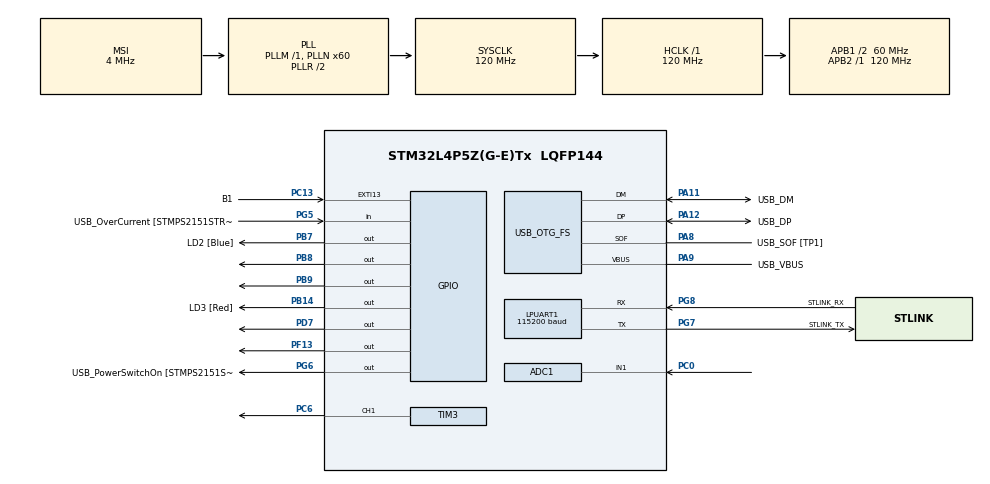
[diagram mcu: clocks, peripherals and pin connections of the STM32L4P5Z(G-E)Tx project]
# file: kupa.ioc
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ADC1.Channel-0\#ChannelRegularConversion=ADC_CHANNEL_1
ADC1.ContinuousConvMode=DISABLE
ADC1.DMAContinuousRequests=DISABLE
ADC1.NbrOfConversionFlag=1
ADC1.OffsetNumber-0\#ChannelRegularConversion=ADC_OFFSET_NONE
ADC1.OversamplingMode=ENABLE
ADC1.Rank-0\#ChannelRegularConversion=1
ADC1.Ratio=ADC_OVERSAMPLING_RATIO_16
ADC1.Resolution=ADC_RESOLUTION_12B
ADC1.SamplingTime-0\#ChannelRegularConversion=ADC_SAMPLETIME_2CYCLES_5
ADC1.master=1
FREERTOS.Tasks01=defaultTask,31,256,StartDefaultTask,Default,NULL,Dynamic,NULL,NULL;Run_Motor,34,128,RunMotor,Default,NULL,Dynamic,NULL,NULL
FREERTOS.configTICK_RATE_HZ=1000
FREERTOS.configUSE_NEWLIB_REENTRANT=1
LPUART1.BaudRate=115200
LPUART1.WordLength=UART_WORDLENGTH_8B
Mcu.Family=STM32L4
Mcu.Name=STM32L4P5Z(G-E)Tx
Mcu.Package=LQFP144
NVIC.PriorityGroup=NVIC_PRIORITYGROUP_4
NVIC.TIM6_DAC_IRQn=true\:15\:0\:false\:false\:true\:false\:false\:true\:true
NVIC.TimeBase=TIM6_DAC_IRQn
NVIC.TimeBaseIP=TIM6
PA10.GPIO_Label=USB_ID
PA10.Signal=USB_OTG_FS_ID
PA11.GPIO_Label=USB_DM
PA11.Mode=Device_Only
PA11.Signal=USB_OTG_FS_DM
PA12.GPIO_Label=USB_DP
PA12.Mode=Device_Only
PA12.Signal=USB_OTG_FS_DP
PA13\ (JTMS/SWDIO).GPIO_Label=TMS
PA13\ (JTMS/SWDIO).Mode=Trace_Asynchronous_SW
PA13\ (JTMS/SWDIO).Signal=SYS_JTMS-SWDIO
PA14\ (JTCK/SWCLK).GPIO_Label=TCK
PA14\ (JTCK/SWCLK).Mode=Trace_Asynchronous_SW
PA14\ (JTCK/SWCLK).Signal=SYS_JTCK-SWCLK
PA8.GPIO_Label=USB_SOF [TP1]
PA8.Mode=Activate_SOF_FS
PA8.Signal=USB_OTG_FS_SOF
PA9.GPIO_Label=USB_VBUS
PA9.Mode=Activate_VBUS
PA9.Signal=USB_OTG_FS_VBUS
PB14.GPIO_Label=LD3 [Red]
PB14.Signal=GPIO_Output
PB3\ (JTDO/TRACESWO).GPIO_Label=SWO
PB3\ (JTDO/TRACESWO).Mode=Trace_Asynchronous_SW
PB3\ (JTDO/TRACESWO).Signal=SYS_JTDO-SWO
PB7.GPIO_Label=LD2 [Blue]
PB7.Signal=GPIO_Output
PB8.Signal=GPIO_Output
PB9.Signal=GPIO_Output
PC0.Signal=ADCx_IN1
PC13.GPIO_Label=B1
PC13.Signal=GPXTI13
PC14-OSC32_IN\ (PC14).Mode=LSE-External-Oscillator
PC14-OSC32_IN\ (PC14).Signal=RCC_OSC32_IN
PC15-OSC32_OUT\ (PC15).Mode=LSE-External-Oscillator
PC15-OSC32_OUT\ (PC15).Signal=RCC_OSC32_OUT
PC6.Signal=S_TIM3_CH1
PD7.Signal=GPIO_Output
PF13.Signal=GPIO_Output
PG5.GPIO_Label=USB_OverCurrent [STMPS2151STR_FAULT]
PG5.Signal=GPIO_Input
PG6.GPIO_Label=USB_PowerSwitchOn [STMPS2151STR_En]
PG6.Signal=GPIO_Output
PG7.GPIO_Label=STLINK_TX
PG7.Mode=Asynchronous
PG7.Signal=LPUART1_TX
PG8.GPIO_Label=STLINK_RX
PG8.Mode=Asynchronous
PG8.Signal=LPUART1_RX
PH0-OSC_IN\ (PH0).Mode=HSE-External-Clock-Source
PH0-OSC_IN\ (PH0).Signal=RCC_OSC_IN
PH1-OSC_OUT\ (PH1).Signal=RCC_OSC_OUT
ProjectManager.HeapSize=0x200
ProjectManager.StackSize=0x400
ProjectManager.TargetToolchain=STM32CubeIDE
RCC.48MHZClocksFreq_Value=24000000
RCC.ADCFreq_Value=48000000
RCC.AHBFreq_Value=120000000
RCC.APB1CLKDivider=RCC_HCLK_DIV2
RCC.APB1Freq_Value=60000000
RCC.APB1TimFreq_Value=120000000
RCC.APB2Freq_Value=120000000
RCC.APB2TimFreq_Value=120000000
RCC.CortexFreq_Value=120000000
RCC.HCLKFreq_Value=120000000
RCC.HSE_VALUE=8000000
RCC.HSI48_VALUE=48000000
RCC.HSI_VALUE=16000000
RCC.MSI_VALUE=4000000
RCC.PLLMUL=RCC_PLL_MUL9
RCC.PLLN=60
RCC.PLLSAI1N=24
RCC.PRESCALERUSB=RCC_USBCLKSOURCE_PLL_DIV1_5
RCC.SYSCLKFreq_VALUE=120000000
RCC.SYSCLKSource=RCC_SYSCLKSOURCE_PLLCLK
RCC.SYSCLKSourceVirtual=RCC_SYSCLKSOURCE_PLLCLK
RCC.USBFreq_Value=48000000
RCC.VCOOutputFreq_Value=240000000
SH.ADCx_IN1.0=ADC1_IN1,IN1-Single-Ended
SH.S_TIM3_CH1.0=TIM3_CH1,PWM Generation1 CH1
TIM3.Channel-PWM\ Generation1\ CH1=TIM_CHANNEL_1
TIM3.Period=99
TIM3.Prescaler=119
TIM4.Period=0xffff-1
TIM4.Prescaler=119
USB_OTG_FS.VirtualMode=Device_Only
VP_FREERTOS_VS_CMSIS_V2.Mode=CMSIS_V2
VP_SYS_VS_tim6.Mode=TIM6
VP_TIM3_VS_ClockSourceINT.Mode=Internal
VP_TIM4_VS_ClockSourceINT.Mode=Internal
board=NUCLEO-L4P5ZG

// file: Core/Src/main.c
/* USER CODE BEGIN Header */
/**
  ******************************************************************************
  * @file           : main.c
  * @brief          : Main program body
  ******************************************************************************
  * @attention
  *
  * Copyright (c) 2022 STMicroelectronics.
  * All rights reserved.
  *
  * This software is licensed under terms that can be found in the LICENSE file
  * in the root directory of this software component.
  * If no LICENSE file comes with this software, it is provided AS-IS.
  *
  ******************************************************************************
  */
/* USER CODE END Header */
#include "main.h"
#include "cmsis_os.h"

/* USER CODE BEGIN Includes */
#include <stdio.h>
#include <math.h>
#include <string.h>
/* USER CODE END Includes */

ADC_HandleTypeDef hadc1;

UART_HandleTypeDef hlpuart1;

TIM_HandleTypeDef htim3;
TIM_HandleTypeDef htim4;

PCD_HandleTypeDef hpcd_USB_OTG_FS;

/* Definitions for defaultTask */
osThreadId_t defaultTaskHandle;
const osThreadAttr_t defaultTask_attributes = {
  .name = "defaultTask",
  .stack_size = 256 * 4,
  .priority = (osPriority_t) osPriorityNormal7,
};
/* Definitions for Run_Motor */
osThreadId_t Run_MotorHandle;
const osThreadAttr_t Run_Motor_attributes = {
  .name = "Run_Motor",
  .stack_size = 128 * 4,
  .priority = (osPriority_t) osPriorityAboveNormal2,
};
/* USER CODE BEGIN PV */
double temp;
uint8_t msg[100];
/* USER CODE END PV */

void SystemClock_Config(void);
void PeriphCommonClock_Config(void);
static void MX_GPIO_Init(void);
static void MX_LPUART1_UART_Init(void);
static void MX_USB_OTG_FS_PCD_Init(void);
static void MX_ADC1_Init(void);
static void MX_TIM3_Init(void);
static void MX_TIM4_Init(void);
void StartDefaultTask(void *argument);
void RunMotor(void *argument);

int main(void)
{

  /* MCU Configuration--------------------------------------------------------*/

  /* Reset of all peripherals, Initializes the Flash interface and the Systick. */
  HAL_Init();

  /* Configure the system clock */
  SystemClock_Config();

/* Configure the peripherals common clocks */
  PeriphCommonClock_Config();

  /* Initialize all configured peripherals */
  MX_GPIO_Init();
  MX_LPUART1_UART_Init();
  MX_USB_OTG_FS_PCD_Init();
  MX_ADC1_Init();
  MX_TIM3_Init();
  MX_TIM4_Init();
  /* USER CODE BEGIN 2 */
  HAL_TIM_PWM_Start(&htim3, TIM_CHANNEL_1);
  //HAL_TIM_PWM_Start(&htim4, TIM_CHANNEL_1);

 // HAL_DMA_RegisterCallback(&hdma_lpuart1_tx, HAL_DMA_XFER_CPLT_CB_ID,
                          //    &DMATransferComplete);
  /* USER CODE END 2 */

  /* Init scheduler */
  osKernelInitialize();

  /* Create the thread(s) */
  /* creation of defaultTask */
  defaultTaskHandle = osThreadNew(StartDefaultTask, NULL, &defaultTask_attributes);

  /* creation of Run_Motor */
  Run_MotorHandle = osThreadNew(RunMotor, NULL, &Run_Motor_attributes);

  /* Start scheduler */
  osKernelStart();

  /* We should never get here as control is now taken by the scheduler */
  /* Infinite loop */
  while (1)
  {

  }
}

void SystemClock_Config(void)
{
  RCC_OscInitTypeDef RCC_OscInitStruct = {0};
  RCC_ClkInitTypeDef RCC_ClkInitStruct = {0};

  /** Configure the main internal regulator output voltage
  */
  if (HAL_PWREx_ControlVoltageScaling(PWR_REGULATOR_VOLTAGE_SCALE1_BOOST) != HAL_OK)
  {
    Error_Handler();
  }

  /** Configure LSE Drive Capability
  */
  HAL_PWR_EnableBkUpAccess();
  __HAL_RCC_LSEDRIVE_CONFIG(RCC_LSEDRIVE_LOW);

  /** Initializes the RCC Oscillators according to the specified parameters
  * in the RCC_OscInitTypeDef structure.
  */
  RCC_OscInitStruct.OscillatorType = RCC_OSCILLATORTYPE_LSE|RCC_OSCILLATORTYPE_MSI;
  RCC_OscInitStruct.LSEState = RCC_LSE_ON;
  RCC_OscInitStruct.MSIState = RCC_MSI_ON;
  RCC_OscInitStruct.MSICalibrationValue = 0;
  RCC_OscInitStruct.MSIClockRange = RCC_MSIRANGE_6;
  RCC_OscInitStruct.PLL.PLLState = RCC_PLL_ON;
  RCC_OscInitStruct.PLL.PLLSource = RCC_PLLSOURCE_MSI;
  RCC_OscInitStruct.PLL.PLLM = 1;
  RCC_OscInitStruct.PLL.PLLN = 60;
  RCC_OscInitStruct.PLL.PLLP = RCC_PLLP_DIV2;
  RCC_OscInitStruct.PLL.PLLQ = RCC_PLLQ_DIV2;
  RCC_OscInitStruct.PLL.PLLR = RCC_PLLR_DIV2;
  if (HAL_RCC_OscConfig(&RCC_OscInitStruct) != HAL_OK)
  {
    Error_Handler();
  }

  /** Initializes the CPU, AHB and APB buses clocks
  */
  RCC_ClkInitStruct.ClockType = RCC_CLOCKTYPE_HCLK|RCC_CLOCKTYPE_SYSCLK
                              |RCC_CLOCKTYPE_PCLK1|RCC_CLOCKTYPE_PCLK2;
  RCC_ClkInitStruct.SYSCLKSource = RCC_SYSCLKSOURCE_PLLCLK;
  RCC_ClkInitStruct.AHBCLKDivider = RCC_SYSCLK_DIV1;
  RCC_ClkInitStruct.APB1CLKDivider = RCC_HCLK_DIV2;
  RCC_ClkInitStruct.APB2CLKDivider = RCC_HCLK_DIV1;

  if (HAL_RCC_ClockConfig(&RCC_ClkInitStruct, FLASH_LATENCY_5) != HAL_OK)
  {
    Error_Handler();
  }

  /** Enable MSI Auto calibration
  */
  HAL_RCCEx_EnableMSIPLLMode();
}

void PeriphCommonClock_Config(void)
{
  RCC_PeriphCLKInitTypeDef PeriphClkInit = {0};

  /** Initializes the peripherals clock
  */
  PeriphClkInit.PeriphClockSelection = RCC_PERIPHCLK_USB|RCC_PERIPHCLK_ADC;
  PeriphClkInit.AdcClockSelection = RCC_ADCCLKSOURCE_PLLSAI1;
  PeriphClkInit.UsbClockSelection = RCC_USBCLKSOURCE_PLLSAI1;
  PeriphClkInit.PLLSAI1.PLLSAI1Source = RCC_PLLSOURCE_MSI;
  PeriphClkInit.PLLSAI1.PLLSAI1M = 1;
  PeriphClkInit.PLLSAI1.PLLSAI1N = 24;
  PeriphClkInit.PLLSAI1.PLLSAI1P = RCC_PLLP_DIV2;
  PeriphClkInit.PLLSAI1.PLLSAI1Q = RCC_PLLQ_DIV2;
  PeriphClkInit.PLLSAI1.PLLSAI1R = RCC_PLLR_DIV2;
  PeriphClkInit.PLLSAI1.PLLSAI1ClockOut = RCC_PLLSAI1_48M2CLK|RCC_PLLSAI1_ADC1CLK;
  if (HAL_RCCEx_PeriphCLKConfig(&PeriphClkInit) != HAL_OK)
  {
    Error_Handler();
  }
}

static void MX_ADC1_Init(void)
{

  ADC_MultiModeTypeDef multimode = {0};
  ADC_ChannelConfTypeDef sConfig = {0};

  /** Common config
  */
  hadc1.Instance = ADC1;
  hadc1.Init.ClockPrescaler = ADC_CLOCK_ASYNC_DIV1;
  hadc1.Init.Resolution = ADC_RESOLUTION_12B;
  hadc1.Init.DataAlign = ADC_DATAALIGN_RIGHT;
  hadc1.Init.ScanConvMode = ADC_SCAN_DISABLE;
  hadc1.Init.EOCSelection = ADC_EOC_SINGLE_CONV;
  hadc1.Init.LowPowerAutoWait = DISABLE;
  hadc1.Init.ContinuousConvMode = DISABLE;
  hadc1.Init.NbrOfConversion = 1;
  hadc1.Init.DiscontinuousConvMode = DISABLE;
  hadc1.Init.ExternalTrigConv = ADC_SOFTWARE_START;
  hadc1.Init.ExternalTrigConvEdge = ADC_EXTERNALTRIGCONVEDGE_NONE;
  hadc1.Init.DMAContinuousRequests = DISABLE;
  hadc1.Init.Overrun = ADC_OVR_DATA_PRESERVED;
  hadc1.Init.OversamplingMode = ENABLE;
  hadc1.Init.Oversampling.Ratio = ADC_OVERSAMPLING_RATIO_16;
  hadc1.Init.Oversampling.RightBitShift = ADC_RIGHTBITSHIFT_NONE;
  hadc1.Init.Oversampling.TriggeredMode = ADC_TRIGGEREDMODE_SINGLE_TRIGGER;
  hadc1.Init.Oversampling.OversamplingStopReset = ADC_REGOVERSAMPLING_CONTINUED_MODE;
  if (HAL_ADC_Init(&hadc1) != HAL_OK)
  {
    Error_Handler();
  }

  /** Configure the ADC multi-mode
  */
  multimode.Mode = ADC_MODE_INDEPENDENT;
  if (HAL_ADCEx_MultiModeConfigChannel(&hadc1, &multimode) != HAL_OK)
  {
    Error_Handler();
  }

  /** Configure Regular Channel
  */
  sConfig.Channel = ADC_CHANNEL_1;
  sConfig.Rank = ADC_REGULAR_RANK_1;
  sConfig.SamplingTime = ADC_SAMPLETIME_2CYCLES_5;
  sConfig.SingleDiff = ADC_SINGLE_ENDED;
  sConfig.OffsetNumber = ADC_OFFSET_NONE;
  sConfig.Offset = 0;
  if (HAL_ADC_ConfigChannel(&hadc1, &sConfig) != HAL_OK)
  {
    Error_Handler();
  }

}

static void MX_LPUART1_UART_Init(void)
{

  hlpuart1.Instance = LPUART1;
  hlpuart1.Init.BaudRate = 115200;
  hlpuart1.Init.WordLength = UART_WORDLENGTH_8B;
  hlpuart1.Init.StopBits = UART_STOPBITS_1;
  hlpuart1.Init.Parity = UART_PARITY_NONE;
  hlpuart1.Init.Mode = UART_MODE_TX_RX;
  hlpuart1.Init.HwFlowCtl = UART_HWCONTROL_NONE;
  hlpuart1.Init.OneBitSampling = UART_ONE_BIT_SAMPLE_DISABLE;
  hlpuart1.Init.ClockPrescaler = UART_PRESCALER_DIV1;
  hlpuart1.AdvancedInit.AdvFeatureInit = UART_ADVFEATURE_NO_INIT;
  hlpuart1.FifoMode = UART_FIFOMODE_DISABLE;
  if (HAL_UART_Init(&hlpuart1) != HAL_OK)
  {
    Error_Handler();
  }
  if (HAL_UARTEx_SetTxFifoThreshold(&hlpuart1, UART_TXFIFO_THRESHOLD_1_8) != HAL_OK)
  {
    Error_Handler();
  }
  if (HAL_UARTEx_SetRxFifoThreshold(&hlpuart1, UART_RXFIFO_THRESHOLD_1_8) != HAL_OK)
  {
    Error_Handler();
  }
  if (HAL_UARTEx_DisableFifoMode(&hlpuart1) != HAL_OK)
  {
    Error_Handler();
  }

}

static void MX_TIM3_Init(void)
{

  TIM_ClockConfigTypeDef sClockSourceConfig = {0};
  TIM_MasterConfigTypeDef sMasterConfig = {0};
  TIM_OC_InitTypeDef sConfigOC = {0};

  htim3.Instance = TIM3;
  htim3.Init.Prescaler = 119;
  htim3.Init.CounterMode = TIM_COUNTERMODE_UP;
  htim3.Init.Period = 99;
  htim3.Init.ClockDivision = TIM_CLOCKDIVISION_DIV1;
  htim3.Init.AutoReloadPreload = TIM_AUTORELOAD_PRELOAD_DISABLE;
  if (HAL_TIM_Base_Init(&htim3) != HAL_OK)
  {
    Error_Handler();
  }
  sClockSourceConfig.ClockSource = TIM_CLOCKSOURCE_INTERNAL;
  if (HAL_TIM_ConfigClockSource(&htim3, &sClockSourceConfig) != HAL_OK)
  {
    Error_Handler();
  }
  if (HAL_TIM_PWM_Init(&htim3) != HAL_OK)
  {
    Error_Handler();
  }
  sMasterConfig.MasterOutputTrigger = TIM_TRGO_RESET;
  sMasterConfig.MasterSlaveMode = TIM_MASTERSLAVEMODE_DISABLE;
  if (HAL_TIMEx_MasterConfigSynchronization(&htim3, &sMasterConfig) != HAL_OK)
  {
    Error_Handler();
  }
  sConfigOC.OCMode = TIM_OCMODE_PWM1;
  sConfigOC.Pulse = 0;
  sConfigOC.OCPolarity = TIM_OCPOLARITY_HIGH;
  sConfigOC.OCFastMode = TIM_OCFAST_DISABLE;
  if (HAL_TIM_PWM_ConfigChannel(&htim3, &sConfigOC, TIM_CHANNEL_1) != HAL_OK)
  {
    Error_Handler();
  }
  HAL_TIM_MspPostInit(&htim3);

}

static void MX_TIM4_Init(void)
{

  TIM_ClockConfigTypeDef sClockSourceConfig = {0};
  TIM_MasterConfigTypeDef sMasterConfig = {0};

  htim4.Instance = TIM4;
  htim4.Init.Prescaler = 119;
  htim4.Init.CounterMode = TIM_COUNTERMODE_UP;
  htim4.Init.Period = 0xffff-1;
  htim4.Init.ClockDivision = TIM_CLOCKDIVISION_DIV1;
  htim4.Init.AutoReloadPreload = TIM_AUTORELOAD_PRELOAD_DISABLE;
  if (HAL_TIM_Base_Init(&htim4) != HAL_OK)
  {
    Error_Handler();
  }
  sClockSourceConfig.ClockSource = TIM_CLOCKSOURCE_INTERNAL;
  if (HAL_TIM_ConfigClockSource(&htim4, &sClockSourceConfig) != HAL_OK)
  {
    Error_Handler();
  }
  sMasterConfig.MasterOutputTrigger = TIM_TRGO_RESET;
  sMasterConfig.MasterSlaveMode = TIM_MASTERSLAVEMODE_DISABLE;
  if (HAL_TIMEx_MasterConfigSynchronization(&htim4, &sMasterConfig) != HAL_OK)
  {
    Error_Handler();
  }

}

static void MX_USB_OTG_FS_PCD_Init(void)
{

  hpcd_USB_OTG_FS.Instance = USB_OTG_FS;
  hpcd_USB_OTG_FS.Init.dev_endpoints = 6;
  hpcd_USB_OTG_FS.Init.phy_itface = PCD_PHY_EMBEDDED;
  hpcd_USB_OTG_FS.Init.Sof_enable = ENABLE;
  hpcd_USB_OTG_FS.Init.low_power_enable = DISABLE;
  hpcd_USB_OTG_FS.Init.lpm_enable = DISABLE;
  hpcd_USB_OTG_FS.Init.battery_charging_enable = ENABLE;
  hpcd_USB_OTG_FS.Init.use_dedicated_ep1 = DISABLE;
  hpcd_USB_OTG_FS.Init.vbus_sensing_enable = ENABLE;
  if (HAL_PCD_Init(&hpcd_USB_OTG_FS) != HAL_OK)
  {
    Error_Handler();
  }

}

static void MX_GPIO_Init(void)
{
  GPIO_InitTypeDef GPIO_InitStruct = {0};

  /* GPIO Ports Clock Enable */
  __HAL_RCC_GPIOC_CLK_ENABLE();
  __HAL_RCC_GPIOH_CLK_ENABLE();
  __HAL_RCC_GPIOF_CLK_ENABLE();
  __HAL_RCC_GPIOB_CLK_ENABLE();
  __HAL_RCC_GPIOG_CLK_ENABLE();
  HAL_PWREx_EnableVddIO2();
  __HAL_RCC_GPIOA_CLK_ENABLE();
  __HAL_RCC_GPIOD_CLK_ENABLE();

  /*Configure GPIO pin Output Level */
  HAL_GPIO_WritePin(GPIOF, GPIO_PIN_13, GPIO_PIN_RESET);

  /*Configure GPIO pin Output Level */
  HAL_GPIO_WritePin(GPIOB, LD3_Pin|LD2_Pin|GPIO_PIN_8|GPIO_PIN_9, GPIO_PIN_RESET);

  /*Configure GPIO pin Output Level */
  HAL_GPIO_WritePin(USB_PowerSwitchOn_GPIO_Port, USB_PowerSwitchOn_Pin, GPIO_PIN_RESET);

  /*Configure GPIO pin Output Level */
  HAL_GPIO_WritePin(GPIOD, GPIO_PIN_7, GPIO_PIN_RESET);

  /*Configure GPIO pin : B1_Pin */
  GPIO_InitStruct.Pin = B1_Pin;
  GPIO_InitStruct.Mode = GPIO_MODE_IT_RISING;
  GPIO_InitStruct.Pull = GPIO_NOPULL;
  HAL_GPIO_Init(B1_GPIO_Port, &GPIO_InitStruct);

  /*Configure GPIO pin : PF13 */
  GPIO_InitStruct.Pin = GPIO_PIN_13;
  GPIO_InitStruct.Mode = GPIO_MODE_OUTPUT_PP;
  GPIO_InitStruct.Pull = GPIO_NOPULL;
  GPIO_InitStruct.Speed = GPIO_SPEED_FREQ_LOW;
  HAL_GPIO_Init(GPIOF, &GPIO_InitStruct);

  /*Configure GPIO pins : LD3_Pin LD2_Pin PB8 PB9 */
  GPIO_InitStruct.Pin = LD3_Pin|LD2_Pin|GPIO_PIN_8|GPIO_PIN_9;
  GPIO_InitStruct.Mode = GPIO_MODE_OUTPUT_PP;
  GPIO_InitStruct.Pull = GPIO_NOPULL;
  GPIO_InitStruct.Speed = GPIO_SPEED_FREQ_LOW;
  HAL_GPIO_Init(GPIOB, &GPIO_InitStruct);

  /*Configure GPIO pin : USB_OverCurrent_Pin */
  GPIO_InitStruct.Pin = USB_OverCurrent_Pin;
  GPIO_InitStruct.Mode = GPIO_MODE_INPUT;
  GPIO_InitStruct.Pull = GPIO_NOPULL;
  HAL_GPIO_Init(USB_OverCurrent_GPIO_Port, &GPIO_InitStruct);

  /*Configure GPIO pin : USB_PowerSwitchOn_Pin */
  GPIO_InitStruct.Pin = USB_PowerSwitchOn_Pin;
  GPIO_InitStruct.Mode = GPIO_MODE_OUTPUT_PP;
  GPIO_InitStruct.Pull = GPIO_NOPULL;
  GPIO_InitStruct.Speed = GPIO_SPEED_FREQ_LOW;
  HAL_GPIO_Init(USB_PowerSwitchOn_GPIO_Port, &GPIO_InitStruct);

  /*Configure GPIO pin : PD7 */
  GPIO_InitStruct.Pin = GPIO_PIN_7;
  GPIO_InitStruct.Mode = GPIO_MODE_OUTPUT_PP;
  GPIO_InitStruct.Pull = GPIO_NOPULL;
  GPIO_InitStruct.Speed = GPIO_SPEED_FREQ_LOW;
  HAL_GPIO_Init(GPIOD, &GPIO_InitStruct);

}

void StartDefaultTask(void *argument)
{
  /* USER CODE BEGIN 5 */
	double val, resistance, A,B,C;
	uint16_t raw;
	double temp_tres = 240;

	A = 0.000732;
	B = 0.000214;
	C = 1.07E-07;

  /* Infinite loop */
  for(;;)
  {

		//HAL_GPIO_TogglePin(GPIOB, GPIO_PIN_14);
	  	HAL_ADC_Start(&hadc1);
	  	HAL_ADC_PollForConversion(&hadc1, HAL_MAX_DELAY);
		raw = HAL_ADC_GetValue(&hadc1);
		val = (3.3/65536)*raw;
		resistance = val/((3.3-val)/10000);
		temp = 1/(A+B*log(resistance)+C*pow(log(resistance),3))-272.15;

	if(temp < temp_tres - 40)
	{
		HAL_GPIO_WritePin(GPIOB, GPIO_PIN_14, 1);
		TIM3->CCR1 = 50;
		HAL_GPIO_WritePin(GPIOD, GPIO_PIN_7, 0);
		//HAL_TIM_PWM_Start(&htim3, TIM_CHANNEL_1);
	}
	else if(temp < temp_tres)
	{
		TIM3->CCR1 = 20;
		HAL_GPIO_WritePin(GPIOD, GPIO_PIN_7, 0);
		//HAL_TIM_PWM_Start(&htim3, TIM_CHANNEL_1);
		//HAL_UART_Transmit(&hlpuart1, (uint8_t*)msg, strlen(msg), HAL_MAX_DELAY);
	}
	else
	{
		HAL_GPIO_WritePin(GPIOB, GPIO_PIN_14, 0);
		TIM3->CCR1 = 0;
		HAL_GPIO_WritePin(GPIOD, GPIO_PIN_7, 1);
	}
	 sprintf(msg, "%.4f, %.4f, %.4f\r\n", temp, val, resistance);
			HAL_UART_Transmit(&hlpuart1, msg, strlen(msg), HAL_MAX_DELAY);

    osDelay(100);
  }
  /* USER CODE END 5 */
}

void RunMotor(void *argument)
{
  /* USER CODE BEGIN RunMotor */
  /* Infinite loop */
  for(;;)
  {
	  if(HAL_GPIO_ReadPin(GPIOC, GPIO_PIN_13) == 1)
	  	  {
	  //	  HAL_GPIO_WritePin(GPIOB, GPIO_PIN_8, 0);
	  	//tv = __HAL_TIM_GET_COUNTER(&htim4);
	  HAL_TIM_Base_Start(&htim4);
	  				HAL_GPIO_TogglePin(GPIOF, GPIO_PIN_13);
	  				//__HAL_TIM_SET_COUNTER(&htim4,0);  // set the counter value a 0
	  				//while (__HAL_TIM_GET_COUNTER(&htim4) < 200);
	    }
    osDelay(1);
  }
  /* USER CODE END RunMotor */
}

void HAL_TIM_PeriodElapsedCallback(TIM_HandleTypeDef *htim)
{
  if (htim->Instance == TIM6) {
    HAL_IncTick();
  }
}

void Error_Handler(void)
{
  __disable_irq();
  while (1)
  {
  }
}
